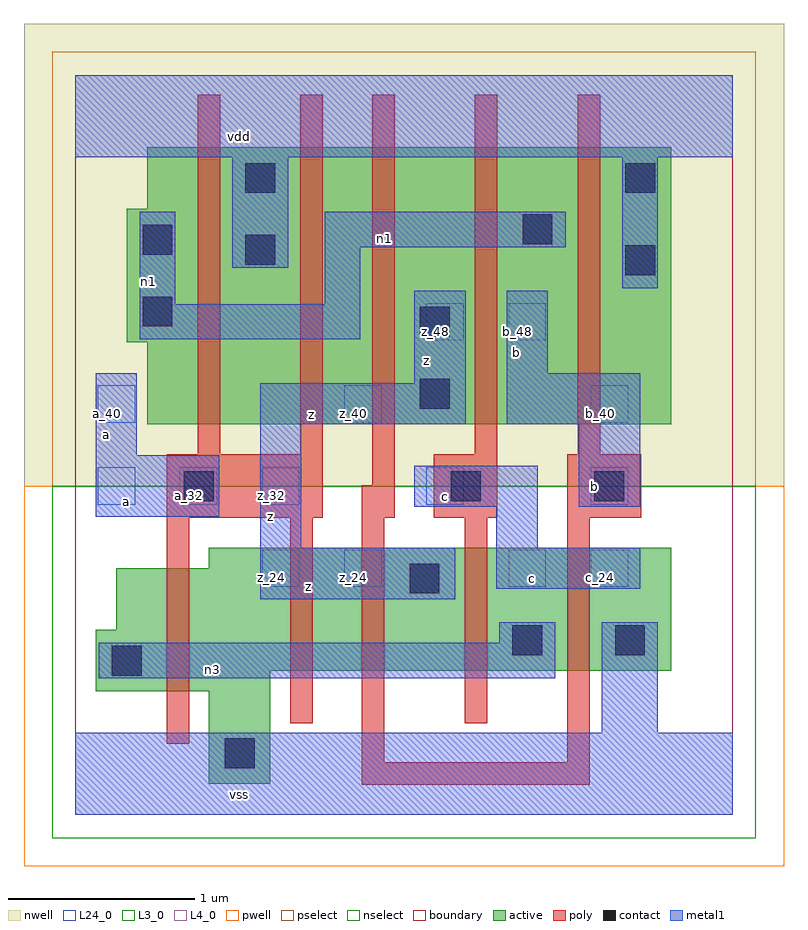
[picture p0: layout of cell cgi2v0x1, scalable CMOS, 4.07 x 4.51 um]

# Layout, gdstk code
import gdstk
lib = gdstk.Library(unit=1e-6, precision=2.5e-09)
def R(c, l, rs):  # rectangles x0, y0, x1, y1
    for r in rs: c.add(gdstk.rectangle(r[:2], r[2:], *l))
def A(c, l, x, y, w, h, nx, ny, dx, dy):  # array of equal rectangles
    R(c, l, [(x+i*dx, y+j*dy, x+i*dx+w, y+j*dy+h) for i in range(nx) for j in range(ny)])
L3_0 = (3, 0)
L4_0 = (4, 0)
L24_0 = (24, 0)
contact = (25, 0)
pwell = (41, 0)
nwell = (42, 0)
active = (43, 0)
pselect = (44, 0)
nselect = (45, 0)
poly = (46, 0)
metal1 = (49, 0)
boundary = (63, 0)

cgi2v0x1 = lib.new_cell('cgi2v0x1')
R(cgi2v0x1, L3_0, [(0.715,0.165,1.045,0.66), (0.11,0.66,1.045,0.77), (0.11,0.77,3.19,0.99), (0.22,0.99,3.19,1.32), (0.715,1.32,3.19,1.43)])
R(cgi2v0x1, L4_0, [(0.385,2.09,3.19,2.53), (0.275,2.53,3.19,3.245), (0.385,3.245,3.19,3.575)])
A(cgi2v0x1, L24_0, 0.12, 1.66, 0.2, 0.2, 3, 1, 0.44, 0)
A(cgi2v0x1, L24_0, 0.12, 2.1, 0.2, 0.2, 3, 1, 1.32, 0)
R(cgi2v0x1, L24_0, [(1,1.22,1.2,1.42), (1.44,1.22,1.64,1.42), (2.32,1.22,2.52,1.42), (2.76,1.22,2.96,1.42), (1.88,1.66,2.08,1.86), (2.76,1.66,2.96,1.86), (1.88,2.54,2.08,2.74), (2.32,2.54,2.52,2.74)])
R(cgi2v0x1, contact, [(0.8,0.25,0.96,0.41), (0.195,0.745,0.355,0.905), (2.34,0.855,2.5,1.015), (2.89,0.855,3.05,1.015), (1.79,1.185,1.95,1.345), (0.58,1.68,0.74,1.84), (2.01,1.68,2.17,1.84), (2.78,1.68,2.94,1.84), (1.845,2.175,2.005,2.335), (1.845,2.56,2.005,2.72), (0.36,2.615,0.52,2.775), (2.945,2.89,3.105,3.05), (0.91,2.945,1.07,3.105), (0.36,3,0.52,3.16), (2.395,3.055,2.555,3.215), (0.91,3.33,1.07,3.49), (2.945,3.33,3.105,3.49)])
R(cgi2v0x1, pwell, [(-0.275,-0.275,3.795,1.76)])
R(cgi2v0x1, nwell, [(-0.275,1.76,3.795,4.235)])
R(cgi2v0x1, active, [(0.715,0.165,1.045,0.66), (0.11,0.66,1.045,0.77), (0.11,0.77,3.19,0.99), (0.22,0.99,3.19,1.32), (0.715,1.32,3.19,1.43), (0.385,2.09,3.19,2.53), (0.275,2.53,3.19,3.245), (0.385,3.245,3.19,3.575)])
R(cgi2v0x1, pselect, [(-0.125,1.76,3.645,4.085)])
R(cgi2v0x1, nselect, [(-0.125,-0.125,3.645,1.76)])
R(cgi2v0x1, poly, [(1.535,0.16,2.755,0.28), (1.535,0.28,1.655,1.59), (2.635,0.28,2.755,1.59), (0.49,0.38,0.61,1.59), (1.15,0.49,1.27,1.59), (2.085,0.49,2.205,1.59), (0.49,1.59,1.325,1.93), (1.535,1.59,1.71,1.765), (1.92,1.59,2.26,1.93), (2.635,1.59,3.03,1.93), (1.59,1.765,1.71,3.855), (0.655,1.93,0.775,3.855), (1.205,1.93,1.325,3.855), (2.14,1.93,2.26,3.855), (2.69,1.93,2.81,3.855)])
R(cgi2v0x1, metal1, [(0,0,3.52,0.44), (2.82,0.44,3.12,1.03), (0.125,0.73,2.57,0.92), (2.27,0.92,2.57,1.03), (0.99,1.155,2.035,1.43), (2.255,1.21,3.025,1.43), (0.99,1.43,1.21,2.09), (2.255,1.43,2.475,1.65), (0.11,1.595,0.77,1.925), (1.815,1.65,2.475,1.87), (2.695,1.65,3.025,2.09), (0.11,1.925,0.33,2.365), (0.99,2.09,2.09,2.31), (2.31,2.09,3.025,2.365), (1.815,2.31,2.09,2.805), (2.31,2.365,2.53,2.805), (0.345,2.545,1.525,2.735), (0.345,2.735,0.535,3.23), (1.335,2.735,1.525,3.04), (2.93,2.82,3.12,3.52), (0.84,2.93,1.14,3.52), (1.335,3.04,2.625,3.23), (0,3.52,3.52,3.96)])
R(cgi2v0x1, boundary, [(0,0,3.52,3.96)])
cgi2v0x1.add(gdstk.Label('vss', (0.88,0.11), layer=49, texttype=0))
cgi2v0x1.add(gdstk.Label('n3', (0.735,0.7775), layer=49, texttype=0))
cgi2v0x1.add(gdstk.Label('c', (2.4475,1.265), layer=49, texttype=0))
cgi2v0x1.add(gdstk.Label('z', (1.25,1.2225), layer=49, texttype=0))
cgi2v0x1.add(gdstk.Label('b', (2.7775,1.76), layer=49, texttype=0))
cgi2v0x1.add(gdstk.Label('c', (1.98,1.705), layer=49, texttype=0))
cgi2v0x1.add(gdstk.Label('z', (1.045,1.595), layer=49, texttype=0))
cgi2v0x1.add(gdstk.Label('a', (0.275,1.6775), layer=49, texttype=0))
cgi2v0x1.add(gdstk.Label('b', (2.365,2.475), layer=49, texttype=0))
cgi2v0x1.add(gdstk.Label('z', (1.265,2.145), layer=49, texttype=0))
cgi2v0x1.add(gdstk.Label('z', (1.8825,2.4325), layer=49, texttype=0))
cgi2v0x1.add(gdstk.Label('a', (0.165,2.035), layer=49, texttype=0))
cgi2v0x1.add(gdstk.Label('n1', (1.6575,3.0875), layer=49, texttype=0))
cgi2v0x1.add(gdstk.Label('n1', (0.3925,2.8575), layer=49, texttype=0))
cgi2v0x1.add(gdstk.Label('vdd', (0.88,3.63), layer=49, texttype=0))
cgi2v0x1.add(gdstk.Label('b_40', (2.81,2.15), layer=24, texttype=0))
cgi2v0x1.add(gdstk.Label('b_32', (2.81,1.71), layer=24, texttype=0))
cgi2v0x1.add(gdstk.Label('c_24', (2.81,1.27), layer=24, texttype=0))
cgi2v0x1.add(gdstk.Label('b_48', (2.37,2.59), layer=24, texttype=0))
cgi2v0x1.add(gdstk.Label('c_24', (2.37,1.27), layer=24, texttype=0))
cgi2v0x1.add(gdstk.Label('a_40', (0.17,2.15), layer=24, texttype=0))
cgi2v0x1.add(gdstk.Label('a_32', (0.17,1.71), layer=24, texttype=0))
cgi2v0x1.add(gdstk.Label('z_48', (1.93,2.59), layer=24, texttype=0))
cgi2v0x1.add(gdstk.Label('c_32', (1.93,1.71), layer=24, texttype=0))
cgi2v0x1.add(gdstk.Label('z_40', (1.49,2.15), layer=24, texttype=0))
cgi2v0x1.add(gdstk.Label('z_24', (1.49,1.27), layer=24, texttype=0))
cgi2v0x1.add(gdstk.Label('z_32', (1.05,1.71), layer=24, texttype=0))
cgi2v0x1.add(gdstk.Label('z_24', (1.05,1.27), layer=24, texttype=0))
cgi2v0x1.add(gdstk.Label('a_32', (0.61,1.71), layer=24, texttype=0))

lib.write_gds('cgi2v0x1.gds')
